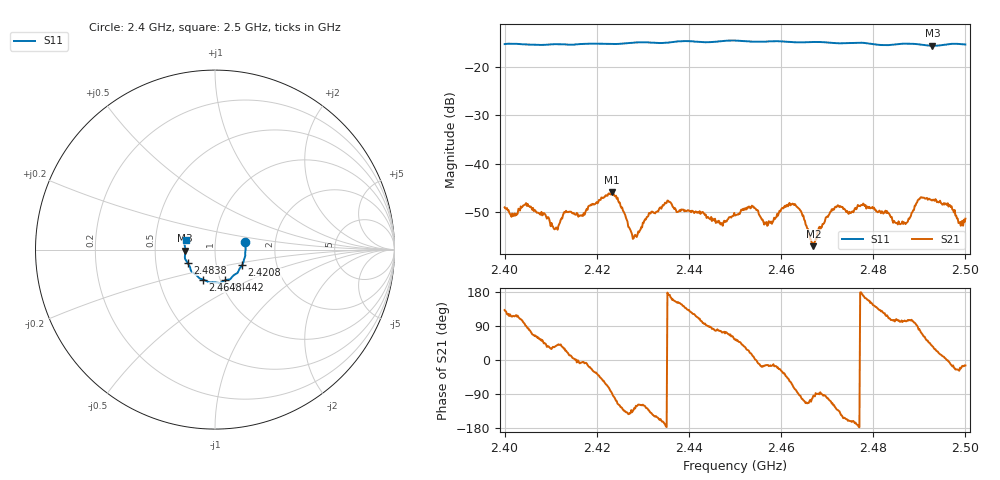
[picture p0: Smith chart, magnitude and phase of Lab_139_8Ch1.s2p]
# Hz S RI R 50
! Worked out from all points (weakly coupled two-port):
!   601 points, 2.4 GHz to 2.5 GHz, reference 50 ohm
!   highest |S21| = -45.78 dB at 2.4233 GHz (marker M1); lowest = -57.0 dB at 2.467 GHz (marker M2)
!   lowest |S11| = -15.6 dB at 2.4928 GHz (marker M3), VSWR 1.40, Z = 35.8 - j0.373 ohm
!   |S11| at or under -10 dB: start of sweep to end of sweep
!   S12 and S22 are empty: the file has one direction only
!   S11 on the Smith chart (normalised r, x): 2.4 GHz: 1.40, +0.12; 2.4208 GHz: 1.33, -0.24; 2.4442 GHz: 1.05, -0.37; 2.4648 GHz: 0.83, -0.29; 2.4838 GHz: 0.73, -0.11; 2.5 GHz: 0.72, +0.08
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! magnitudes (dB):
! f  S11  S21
! 2.4 GHz  -15.3  -49.0
! 2.4052 GHz  -15.4  -48.7
! 2.411 GHz  -15.3  -53.4
! 2.4167 GHz  -15.2  -50.7
! 2.4208 GHz  -15.2  -47.4
! 2.4233 GHz  -15.2  -45.8
! 2.4282 GHz  -15.0  -54.9
! 2.4333 GHz  -15.0  -49.8
! 2.4442 GHz  -14.9  -51.0
! 2.45 GHz  -14.5  -50.7
! 2.454 GHz  -14.8  -48.8
! 2.4575 GHz  -14.7  -52.0
! 2.4622 GHz  -14.8  -48.3
! 2.4648 GHz  -14.9  -50.7
! 2.4667 GHz  -14.8  -56.5
! 2.467 GHz  -14.8  -57.0
! 2.4722 GHz  -15.1  -48.7
! 2.4833 GHz  -15.5  -50.2
! 2.4838 GHz  -15.4  -51.0
! 2.487 GHz  -15.2  -52.4
! 2.4928 GHz  -15.6  -47.5
! 2.5 GHz  -15.3  -51.3
